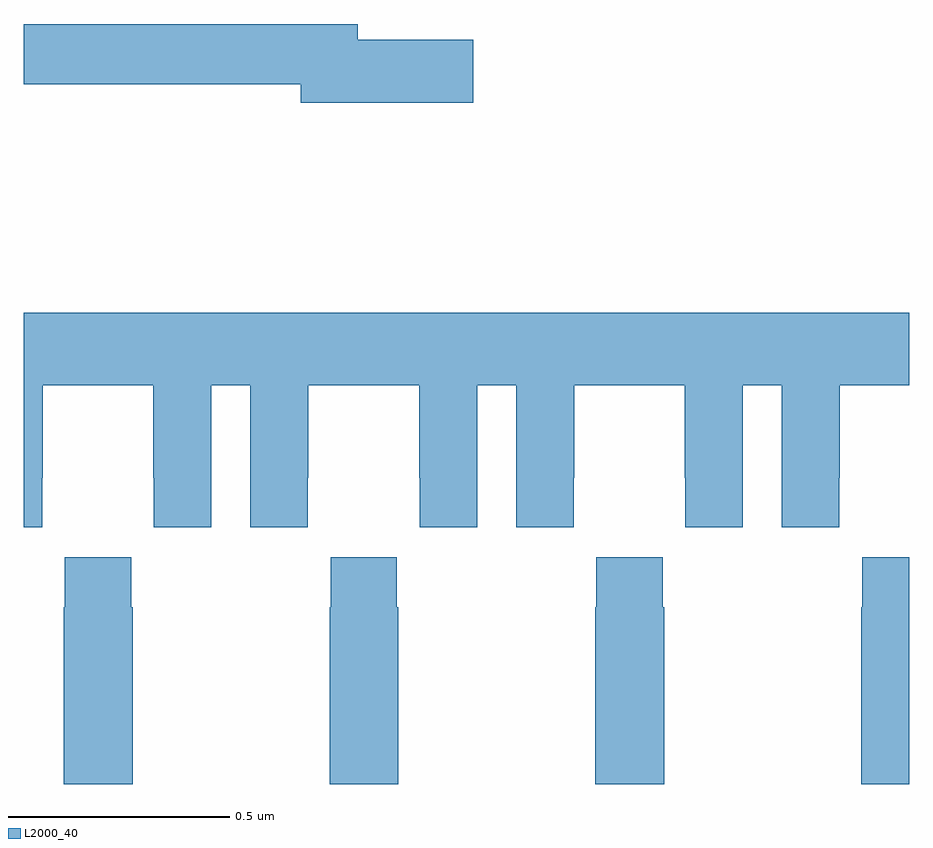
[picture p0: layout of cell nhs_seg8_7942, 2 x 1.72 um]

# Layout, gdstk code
import gdstk
lib = gdstk.Library(unit=1e-6, precision=1e-09)
def P(c, l, *ps):  # polygons
    for p in ps: c.add(gdstk.Polygon(p, *l))
L2000_40 = (2000, 40)

nhs_seg8_7942 = lib.new_cell('nhs_seg8_7942')
P(nhs_seg8_7942, L2000_40, [(217.015,1150.58),(216.754,1150.58),(216.754,1150.616),(216,1150.616),(216,1150.48),(216.626,1150.48),(216.626,1150.438),(217.015,1150.438)],
  [(216.042,1149.592),(216.043,1149.592),(216.043,1149.8),(216.293,1149.8),(216.293,1149.592),(216.294,1149.592),(216.294,1149.48),(216.424,1149.48),(216.424,1149.8),(216.512,1149.8),(216.512,1149.48),(216.642,1149.48),(216.642,1149.592),(216.643,1149.592),(216.643,1149.8),(216.893,1149.8),(216.893,1149.592),(216.894,1149.592),(216.894,1149.48),(217.024,1149.48),(217.024,1149.8),(217.112,1149.8),(217.112,1149.48),(217.242,1149.48),(217.242,1149.592),(217.243,1149.592),(217.243,1149.8),(217.493,1149.8),(217.493,1149.592),(217.494,1149.592),(217.494,1149.48),(217.624,1149.48),(217.624,1149.8),(217.712,1149.8),(217.712,1149.48),(217.842,1149.48),(217.842,1149.592),(217.843,1149.592),(217.843,1149.8),(218,1149.8),(218,1149.964),(216,1149.964),(216,1149.48),(216.042,1149.48)],
  [(216.846,1149.299),(216.843,1149.299),(216.843,1149.412),(216.693,1149.412),(216.693,1149.299),(216.691,1149.299),(216.691,1148.9),(216.846,1148.9)],
  [(216.246,1149.299),(216.243,1149.299),(216.243,1149.412),(216.093,1149.412),(216.093,1149.299),(216.091,1149.299),(216.091,1148.9),(216.246,1148.9)],
  [(217.446,1149.299),(217.443,1149.299),(217.443,1149.412),(217.293,1149.412),(217.293,1149.299),(217.291,1149.299),(217.291,1148.9),(217.446,1148.9)],
  [(218,1149.412),(217.893,1149.412),(217.893,1149.299),(217.891,1149.299),(217.891,1148.9),(218,1148.9)])

lib.write_gds('nhs_seg8_7942.gds')
